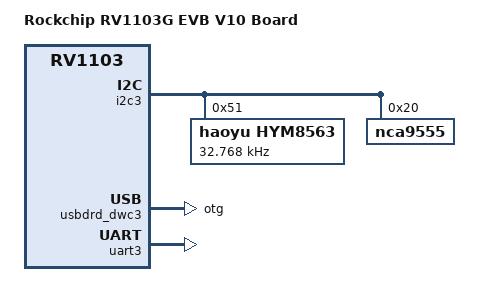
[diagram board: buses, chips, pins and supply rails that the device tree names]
// SPDX-License-Identifier: (GPL-2.0+ OR MIT)
/*
 * Copyright (c) 2022 Rockchip Electronics Co., Ltd.
 */

/dts-v1/;
#include <dt-bindings/gpio/nca9555-gpio.h>

#include "rv1103.dtsi"
#include "rv1103-evb-v10.dtsi"
#include "rp-rv1103-sdcard-mmc1.dtsi"
#include "rp-rv1103-wifi.dtsi"
#include "rp-rv1103-sound.dtsi"

#include "rp-rv1103-camera-gc2093x1.dtsi"
//#include "rp-rv1103-mipi-camera-gc2093x2.dtsi"
/ {
	model = "Rockchip RV1103G EVB V10 Board";
	compatible = "rockchip,rv1103g-evb-v10", "rockchip,rv1103";

    rp_power{
        status = "okay";
        compatible = "rp_power";
        rp_not_deep_leep = <1>;

        //#define GPIO_FUNCTION_OUTPUT 0
        //#define GPIO_FUNCTION_INPUT 1
        //#define GPIO_FUNCTION_IRQ 2
        //#define GPIO_FUNCTION_FLASH 3
        //#define GPIO_FUNCTION_OUTPUT_CTRL 4

        vdd_5v{
            gpio_num = <&gpio4 RK_PC1 GPIO_ACTIVE_HIGH>;
            gpio_function = <4>;
        };

		run_led{  					//LED					
            gpio_num = <&nca9555_gpio IO_00 GPIO_ACTIVE_HIGH>;
            gpio_function = <3>;
        };
	
		vdd_4g{						//4G
            gpio_num = <&nca9555_gpio IO_05 GPIO_ACTIVE_HIGH>;
            gpio_function = <4>;
        };

	};
	
	rp_gpio {
			stauts = "okay";
			compatible = "rp_gpio";
		
		nca9555_6{
            gpio_num = <&nca9555_gpio IO_06 GPIO_ACTIVE_HIGH>;
            gpio_function = <0>;
        };

        nca9555_7{
            gpio_num = <&nca9555_gpio IO_07 GPIO_ACTIVE_HIGH>;
            gpio_function = <0>;
       	 };

		nca9555_10{
            gpio_num = <&nca9555_gpio IO_10 GPIO_ACTIVE_HIGH>;
            gpio_function = <0>;
        };

		nca9555_11{
            gpio_num = <&nca9555_gpio IO_11 GPIO_ACTIVE_HIGH>;
            gpio_function = <0>;
        };

		nca9555_12{
            gpio_num = <&nca9555_gpio IO_12 GPIO_ACTIVE_HIGH>;
            gpio_function = <0>;
        };

		nca9555_13{
            gpio_num = <&nca9555_gpio IO_13 GPIO_ACTIVE_HIGH>;
            gpio_function = <1>;
        };

		nca9555_14{
            gpio_num = <&nca9555_gpio IO_14 GPIO_ACTIVE_HIGH>;
            gpio_function = <1>;
        };

		nca9555_15{
            gpio_num = <&nca9555_gpio IO_15 GPIO_ACTIVE_HIGH>;
            gpio_function = <1>;
        };

		nca9555_16{
            gpio_num = <&nca9555_gpio IO_16 GPIO_ACTIVE_HIGH>;
            gpio_function = <1>;
        };

		nca9555_17{
            gpio_num = <&nca9555_gpio IO_17 GPIO_ACTIVE_HIGH>;
            gpio_function = <1>;
        };
    };

};

&i2c3 {
    status = "okay";
    pinctrl-names = "default";
    pinctrl-0 = <&i2c3m1_xfer>;

    hym8563: hym8563@51 {
        compatible = "haoyu,hym8563";
        reg = <0x51>;
        #clock-cells = <0>;
        clock-frequency = <32768>; //out 32.768k for wifi
        clock-output-names = "rtc_32k";
    };
    nca9555: mfd-gpio@20 {
        compatible = "nca9555";
        reg = <0x20>;
        status = "okay";

        nca9555_gpio: gpio-normal@34 {
                compatible = "nca9555-gpio";
                gpio-controller;
                #gpio-cells = <2>;
        };
    };

};

&usbdrd_dwc3 {
    //otg mode switch to host in /etc/init.d/S99_otg_def_host
    dr_mode = "otg";

    //Implemented by rpdzkj and implemented in kernel/drivers/usb/dwc3/core.c file.
    //when switch to host mode, otg_gpio pull up
    //when switch to device mode, otg_gpio pull down
    otg_gpio = <&gpio1 RK_PA2 GPIO_ACTIVE_LOW>;
};

&uart3 { 
	status = "okay";
	pinctrl-names = "default";
    pinctrl-0 = <&uart3m1_xfer>;
};
